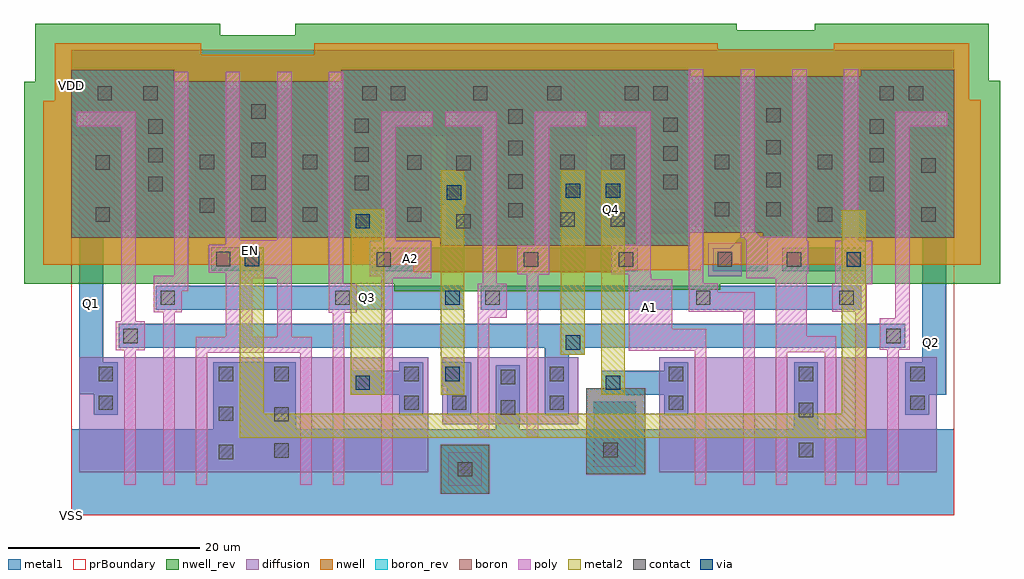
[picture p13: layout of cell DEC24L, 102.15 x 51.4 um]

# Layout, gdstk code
import gdstk
lib = gdstk.Library(unit=1e-6, precision=1e-09)
def R(c, l, rs):  # rectangles x0, y0, x1, y1
    for r in rs: c.add(gdstk.rectangle(r[:2], r[2:], *l))
def A(c, l, x, y, w, h, nx, ny, dx, dy):  # array of equal rectangles
    R(c, l, [(x+i*dx, y+j*dy, x+i*dx+w, y+j*dy+h) for i in range(nx) for j in range(ny)])
def P(c, l, *ps):  # polygons
    for p in ps: c.add(gdstk.Polygon(p, *l))
nwell = (1, 0)
diffusion = (2, 0)
nwell_rev = (3, 0)
poly = (4, 0)
boron = (5, 0)
boron_rev = (6, 0)
contact = (7, 0)
metal1 = (8, 0)
via = (9, 0)
metal2 = (10, 0)
prBoundary = (28, 0)

dec24l = lib.new_cell('DEC24L')
P(dec24l, nwell, [(35.8,25.4),(35.8,26.2),(-2.95,26.2),(-2.95,43.35),(-1.75,43.35),(-1.75,49.4),(13.6,49.4),(13.6,48.2),(25.45,48.2),(25.45,49.4),(67.65,49.4),(67.65,48.75),(79.8,48.75),(79.8,49.4),(94,49.4),(94,43.45),(95.2,43.45),(95.2,26.2),(65.9,26.2),(65.9,25.6),(57.45,25.6),(57.45,25.4)])
R(dec24l, diffusion, [(39.45,3.05,42.95,6.55), (0.85,4.5,37.35,16.5), (61.55,4.5,78.65,16.5), (75.15,4.5,90.6,16.5), (54.7,5.05,59.1,11.85), (38.85,9.5,53.05,16.5), (66.65,25,70.15,28.5)])
P(dec24l, diffusion, [(0.85,29.7),(0.85,39.85),(1.75,39.85),(1.75,45.9),(10.1,45.9),(10.1,44.7),(28.95,44.7),(28.95,45.9),(36.45,45.9),(36.45,39.95),(37.65,39.95),(37.65,29.7)],
  [(39.3,28.9),(39.3,40.05),(40.35,40.05),(40.35,45.9),(52.7,45.9),(52.7,40.1),(53.95,40.1),(53.95,28.9)],
  [(55.45,29.1),(55.45,39.95),(56.9,39.95),(56.9,45.9),(64.15,45.9),(64.15,45.25),(83.3,45.25),(83.3,45.9),(90.5,45.9),(90.5,39.95),(91.6,39.95),(91.6,29.7),(73.05,29.7),(73.05,30.25),(64.05,30.25),(64.05,29.45),(58.65,29.45),(58.65,29.1)])
P(dec24l, nwell_rev, [(33.8,23.4),(33.8,24.2),(-4.95,24.2),(-4.95,45.35),(-3.75,45.35),(-3.75,51.4),(15.6,51.4),(15.6,50.2),(23.45,50.2),(23.45,51.4),(69.65,51.4),(69.65,50.75),(77.8,50.75),(77.8,51.4),(96,51.4),(96,45.45),(97.2,45.45),(97.2,24.2),(67.9,24.2),(67.9,23.6),(59.45,23.6),(59.45,23.4)])
P(dec24l, poly, [(13.05,3.15),(13.05,18.65),(16.15,18.65),(16.15,25.35),(14.4,25.35),(14.4,28.3),(16.15,28.3),(16.15,46.4),(17.65,46.4),(17.65,28.75),(21.55,28.75),(21.55,24.8),(18.95,24.8),(18.95,18.65),(21.55,18.65),(21.55,46.4),(23.05,46.4),(23.05,18.65),(25.15,18.65),(25.15,3.15),(23.95,3.15),(23.95,17),(14.25,17),(14.25,3.15)],
  [(9.65,3.15),(9.65,21.2),(8.65,21.2),(8.65,25.05),(10.75,25.05),(10.75,46.4),(12.25,46.4),(12.25,23.4),(11.55,23.4),(11.55,21.2),(10.85,21.2),(10.85,3.15)],
  [(85.4,3.15),(85.4,17.3),(84.6,17.3),(84.6,20.6),(86.25,20.6),(86.25,42.2),(91.7,42.2),(91.7,40.7),(87.75,40.7),(87.75,17.3),(86.6,17.3),(86.6,3.15)],
  [(82.05,3.15),(82.05,21.3),(79.65,21.3),(79.65,24.2),(79.95,24.2),(79.95,28.7),(80.85,28.7),(80.85,46.65),(82.35,46.65),(82.35,28.7),(83.85,28.7),(83.85,24.15),(83.25,24.15),(83.25,3.15)],
  [(73.75,3.15),(73.75,24.8),(70.65,24.8),(70.65,28.75),(70.4,29),(70.05,29),(70.05,46.65),(71.55,46.65),(71.55,29.7),(72.1,29.15),(75.45,29.15),(75.45,46.65),(76.95,46.65),(76.95,28.7),(77.15,28.7),(77.15,25.3),(76.95,25.3),(76.95,18.7),(80.05,18.7),(80.05,3.15),(78.85,3.15),(78.85,17.05),(74.95,17.05),(74.95,3.15)],
  [(70.35,3.15),(70.35,21.3),(64.65,21.3),(64.65,46.65),(66.15,46.65),(66.15,24.25),(67.65,24.25),(67.65,23.3),(71.55,23.3),(71.55,3.15)],
  [(65.25,3.15),(65.25,17.2),(58.35,17.2),(58.35,25.2),(56.5,25.2),(56.5,28.3),(59.15,28.3),(59.15,40.7),(55.25,40.7),(55.25,42.2),(60.65,42.2),(60.65,25.2),(60.7,25.2),(60.7,24.7),(62.9,24.7),(62.9,19.5),(66.45,19.5),(66.45,3.15)],
  [(47.65,8.15),(47.65,25.2),(46.65,25.2),(46.65,28.2),(48.5,28.2),(48.5,42.2),(53.9,42.2),(53.9,40.7),(50,40.7),(50,25.15),(48.85,25.15),(48.85,8.15)],
  [(42.55,8.15),(42.55,24.2),(43.05,24.2),(43.05,40.7),(39.15,40.7),(39.15,42.2),(44.55,42.2),(44.55,24.2),(45.6,24.2),(45.6,20.65),(43.75,20.65),(43.75,8.15)],
  [(32.45,3.15),(32.45,25),(31.25,25),(31.25,28.7),(32.45,28.7),(32.45,42.2),(37.85,42.2),(37.85,40.7),(33.95,40.7),(33.95,28.7),(37.65,28.7),(37.65,24.8),(33.65,24.8),(33.65,3.15)],
  [(27.35,3.15),(27.35,21.15),(26.95,21.15),(26.95,46.4),(28.45,46.4),(28.45,24.2),(29.9,24.2),(29.9,21.15),(28.55,21.15),(28.55,3.15)],
  [(5.55,3.15),(5.55,17.25),(4.65,17.25),(4.65,20.3),(5.25,20.3),(5.25,40.7),(0.55,40.7),(0.55,42.2),(6.75,42.2),(6.75,20.3),(7.7,20.3),(7.7,17.25),(6.75,17.25),(6.75,3.15)])
R(dec24l, boron, [(38.65,2.25,43.75,7.35), (53.9,4.25,60.05,13.25)])
P(dec24l, boron, [(38.6,28.2),(38.6,29),(0,29),(0,46.6),(10.8,46.6),(10.8,45.4),(28.25,45.4),(28.25,46.6),(64.85,46.6),(64.85,45.95),(82.6,45.95),(82.6,46.6),(92.4,46.6),(92.4,29),(72.35,29),(72.35,29.55),(64.75,29.55),(64.75,28.2)])
R(dec24l, boron_rev, [(38.65,2.25,43.75,7.35), (53.9,4.25,60.05,13.25)])
P(dec24l, boron_rev, [(38.6,28.2),(38.6,29),(0,29),(0,46.6),(10.8,46.6),(10.8,45.4),(28.25,45.4),(28.25,46.6),(64.85,46.6),(64.85,45.95),(82.6,45.95),(82.6,46.6),(92.4,46.6),(92.4,29),(72.35,29),(72.35,29.55),(64.75,29.55),(64.75,28.2)])
A(dec24l, contact, 8.05, 33.9, 1.5, 1.5, 1, 3, 0, 3)
A(dec24l, contact, 83.55, 33.9, 1.5, 1.5, 1, 3, 0, 3)
A(dec24l, contact, 29.65, 34, 1.5, 1.5, 1, 3, 0, 3)
A(dec24l, contact, 61.95, 34.1, 1.5, 1.5, 1, 3, 0, 3)
R(dec24l, contact, [(40.45,4.05,41.95,5.55), (15.45,5.85,16.95,7.35), (21.25,6,22.75,7.5), (55.7,6.05,57.2,7.55), (76.15,6.05,77.65,7.55), (21.25,9.8,22.75,11.3), (15.45,9.85,16.95,11.35), (76.15,10.25,77.65,11.75), (44.95,10.5,46.45,12), (2.85,11,4.35,12.5), (34.85,11,36.35,12.5), (39.85,11,41.35,12.5), (50.05,11,51.55,12.5), (62.55,11,64.05,12.5), (87.8,11,89.3,12.5), (44.95,13.7,46.45,15.2), (2.85,14,4.35,15.5), (15.45,14,16.95,15.5), (21.25,14,22.75,15.5), (34.85,14,36.35,15.5), (50.05,14,51.55,15.5), (62.55,14,64.05,15.5), (76.15,14,77.65,15.5), (76.15,14,77.65,15.5), (87.8,14,89.3,15.5), (5.45,18,6.95,19.5), (85.3,18,86.8,19.5), (9.35,22,10.85,23.5), (27.65,22,29.15,23.5), (43.35,22,44.85,23.5), (65.4,22,66.9,23.5), (80.4,22,81.9,23.5), (31.95,26,33.45,27.5), (47.35,26,48.85,27.5), (57.3,26,58.8,27.5), (67.65,26,69.15,27.5), (67.65,26,69.15,27.5), (74.9,26,76.4,27.5), (15.15,26.05,16.65,27.55), (40.3,30,41.8,31.5), (51.2,30.2,52.7,31.7), (56.45,30.2,57.95,31.7), (2.55,30.7,4.05,32.2), (18.85,30.7,20.35,32.2), (24.25,30.7,25.75,32.2), (35.15,30.7,36.65,32.2), (78.15,30.7,79.65,32.2), (88.95,30.7,90.45,32.2), (45.75,31.15,47.25,32.65), (67.35,31.25,68.85,32.75), (72.75,31.25,74.25,32.75), (13.45,31.65,14.95,33.15), (18.85,34.05,20.35,35.55), (45.75,34.15,47.25,35.65), (72.75,34.3,74.25,35.8), (88.95,35.85,90.45,37.35), (40.3,36.1,41.8,37.6), (2.55,36.15,4.05,37.65), (35.15,36.15,36.65,37.65), (13.45,36.2,14.95,37.7), (24.25,36.2,25.75,37.7), (51.2,36.2,52.7,37.7), (56.45,36.2,57.95,37.7), (67.35,36.2,68.85,37.7), (78.15,36.2,79.65,37.7), (18.85,37.45,20.35,38.95), (45.75,37.65,47.25,39.15), (72.75,37.75,74.25,39.25), (45.75,40.95,47.25,42.45), (72.75,41.1,74.25,42.6), (18.85,41.5,20.35,43), (2.75,43.4,4.25,44.9), (7.55,43.4,9.05,44.9), (30.45,43.4,31.95,44.9), (33.45,43.4,34.95,44.9), (42.05,43.4,43.55,44.9), (49.8,43.4,51.3,44.9), (57.9,43.4,59.4,44.9), (60.9,43.4,62.4,44.9), (84.6,43.4,86.1,44.9), (87.65,43.4,89.15,44.9)])
R(dec24l, metal1, [(0,0,92.4,9), (89.05,16.8,91.55,19.3), (0.85,21,3.35,23.5), (8.85,21.5,41.15,24), (42.85,21.5,82.7,24), (31.45,25.5,59.3,28), (74.4,25.5,83.15,28), (14.65,25.55,20.15,28.05), (0,39.7,92.4,48.7)])
P(dec24l, metal1, [(2.35,10.5),(2.35,12.65),(0.85,12.65),(0.85,36.1),(2.05,36.1),(2.05,38.2),(4.55,38.2),(4.55,31.7),(11,31.7),(12.9,33.6),(12.95,33.6),(12.95,38.2),(15.45,38.2),(15.45,29.75),(15.4,29.7),(12.947,29.7),(12.547,29.3),(3.35,29.3),(3.35,16),(4.85,16),(4.85,10.5)],
  [(67.15,25.5),(67.15,28),(68.95,28),(70.3,29.35),(70.762,30.042),(70.95,30.495),(70.95,39.7),(63.95,39.7),(63.95,33.6),(61.45,33.6),(61.45,39.7),(47.75,39.7),(47.75,30.65),(45.25,30.65),(45.25,39.7),(31.65,39.7),(31.65,33.5),(29.15,33.5),(29.15,39.7),(21.15,39.7),(21.15,30.1),(18.35,30.1),(18.35,39.7),(10.05,39.7),(10.05,33.4),(7.55,33.4),(7.55,39.7),(0,39.7),(0,48.7),(92.4,48.7),(92.4,39.7),(85.55,39.7),(85.55,33.4),(83.05,33.4),(83.05,39.7),(74.75,39.7),(74.75,29.5),(73.75,29.5),(72.9,28.65),(72.9,25.5)],
  [(0,0),(0,9),(14.85,9),(14.85,16),(23.5,16),(23.5,9),(44.45,9),(44.45,15.7),(46.95,15.7),(46.95,9),(75.65,9),(75.65,16),(78.15,16),(78.15,9),(92.4,9),(92.4,0)],
  [(87.3,10.5),(87.3,16),(89.05,16),(89.05,29.5),(77.65,29.5),(77.65,38.2),(80.15,38.2),(80.15,31.9),(88.45,31.9),(88.45,38.2),(90.95,38.2),(90.95,36.05),(91.55,36.05),(91.55,12.6),(89.8,12.6),(89.8,10.5)],
  [(55.95,29.6),(55.95,32.6),(55.45,32.6),(55.45,35.2),(55.95,35.2),(55.95,38.2),(58.45,38.2),(58.45,32),(66.85,32),(66.85,38.2),(69.35,38.2),(69.35,30.85),(68.1,29.6)],
  [(62.05,10.5),(62.05,12.6),(55.45,12.6),(55.45,15.1),(62.05,15.1),(62.05,16),(64.55,16),(64.55,10.5)],
  [(50.7,29.6),(50.7,38.2),(53.2,38.2),(53.2,35.2),(53.75,35.2),(53.75,32.7),(53.2,32.7),(53.2,29.6)],
  [(39.8,29.5),(39.8,32.5),(38.65,32.5),(38.65,35),(39.8,35),(39.8,38.1),(42.3,38.1),(42.3,29.5)],
  [(39.35,10.5),(39.35,13.5),(38.65,13.5),(38.65,16),(41.85,16),(41.85,10.5)],
  [(29.25,29.5),(29.25,29.6),(23.75,29.6),(23.75,38.2),(26.25,38.2),(26.25,32),(34.65,32),(34.65,38.2),(37.15,38.2),(37.15,29.6),(31.75,29.6),(31.75,29.5)],
  [(34.35,10.5),(34.35,12.6),(29.25,12.6),(29.25,15.1),(34.35,15.1),(34.35,16),(36.85,16),(36.85,10.5)],
  [(49.55,10.5),(49.55,17.5),(4.95,17.5),(4.95,20),(87.3,20),(87.3,17.5),(53.75,17.5),(53.75,16.8),(52.05,16.8),(52.05,10.5)])
R(dec24l, via, [(29.75,13.1,31.25,14.6), (55.95,13.1,57.45,14.6), (39.15,14,40.65,15.5), (51.75,17.3,53.25,18.8), (39.15,22,40.65,23.5), (81.15,26,82.65,27.5), (18.15,26.05,19.65,27.55), (29.75,30,31.25,31.5), (39.3,33,40.8,34.5), (51.75,33.2,53.25,34.7), (55.95,33.2,57.45,34.7)])
R(dec24l, metal2, [(17.65,8.098,20.15,28.05), (17.65,8.098,83.15,10.598), (80.65,8.098,83.15,31.9), (55.45,12.6,57.95,36.1), (51.25,16.8,53.75,36.1)])
P(dec24l, metal2, [(29.25,12.6),(29.25,32),(30.25,32),(32.75,32),(32.75,12.6)],
  [(38.65,12.6),(38.65,36.1),(41.15,36.1),(41.15,35),(41.3,35),(41.3,32.5),(41.15,32.5),(41.15,12.6)])
R(dec24l, prBoundary, [(0,0,92.4,48.7)])
dec24l.add(gdstk.Label('VSS', (0.001,0.001), layer=8, texttype=7))
dec24l.add(gdstk.Label('VDD', (0.002,45), layer=8, texttype=7))
dec24l.add(gdstk.Label('EN', (18.727,27.691), layer=8, texttype=7))
dec24l.add(gdstk.Label('Q1', (2.15,22.15), layer=8, texttype=7))
dec24l.add(gdstk.Label('A2', (35.45,26.8), layer=8, texttype=7))
dec24l.add(gdstk.Label('Q4', (56.5,31.95), layer=8, texttype=7))
dec24l.add(gdstk.Label('A1', (60.5,21.7), layer=8, texttype=7))
dec24l.add(gdstk.Label('Q2', (90,18.1), layer=8, texttype=7))
dec24l.add(gdstk.Label('Q3', (31.05,22.76), layer=10, texttype=7))

lib.write_gds('DEC24L.gds')
